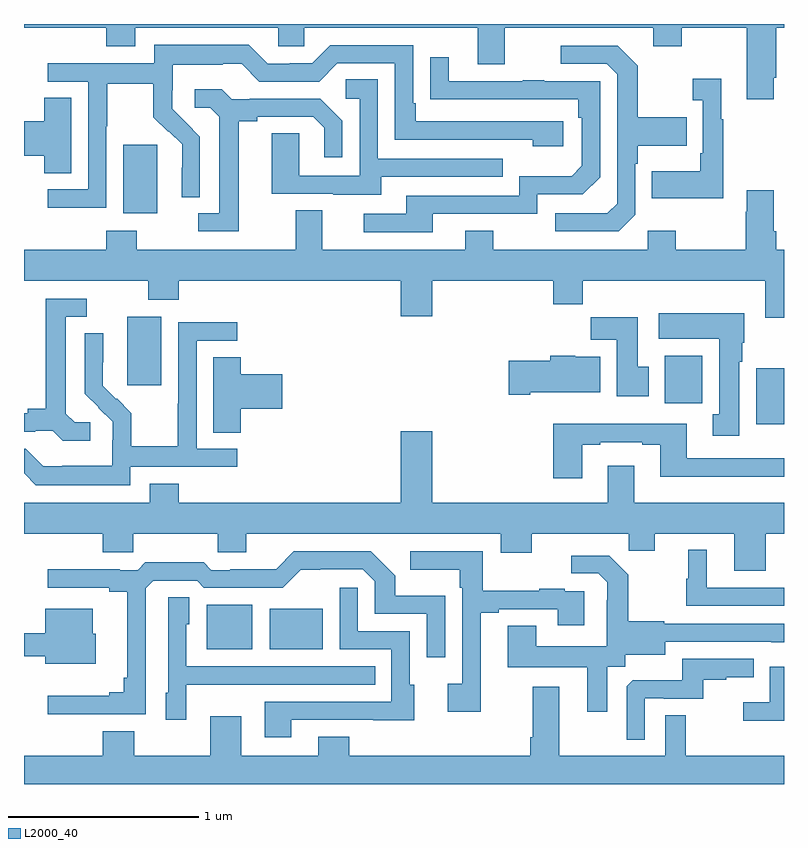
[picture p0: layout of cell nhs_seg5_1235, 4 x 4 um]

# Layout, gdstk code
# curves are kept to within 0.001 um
import gdstk
lib = gdstk.Library(unit=1e-6, precision=1e-09)
def R(c, l, rs):  # rectangles x0, y0, x1, y1
    for r in rs: c.add(gdstk.rectangle(r[:2], r[2:], *l))
def P(c, l, *ps):  # polygons
    for p in ps: c.add(gdstk.Polygon(p, *l))
L2000_40 = (2000, 40)

nhs_seg5_1235 = lib.new_cell('nhs_seg5_1235')
R(nhs_seg5_1235, L2000_40, [(187.961,833.507,188.2,833.743), (188.294,833.507,188.572,833.722), (190.853,834.692,191,834.988), (190.373,834.804,190.569,835.054), (187.544,834.897,187.723,835.258), (187.523,835.802,187.702,836.163)])
P(nhs_seg5_1235, L2000_40, [(190.945,836.515),(190.958,836.515),(190.958,836.78),(191,836.78),(191,836.799),(187,836.799),(187,836.78),(187.433,836.78),(187.433,836.681),(187.585,836.681),(187.585,836.78),(188.337,836.78),(188.337,836.682),(188.475,836.682),(188.475,836.78),(189.389,836.78),(189.389,836.586),(189.529,836.586),(189.529,836.78),(190.313,836.78),(190.313,836.681),(190.461,836.681),(190.461,836.78),(190.805,836.78),(190.805,836.403),(190.945,836.403)],
  [(187.434,836.26),(187.437,836.26),(187.437,836.484),(187.681,836.484),(187.681,836.309),(187.758,836.232),(187.761,836.235),(187.832,836.165),(187.832,836.042),(187.83,836.042),(187.83,835.888),(187.926,835.888),(187.926,836.206),(187.78,836.354),(187.78,836.451),(187.782,836.451),(187.782,836.585),(188.045,836.585),(188.045,836.589),(188.145,836.589),(188.238,836.496),(188.553,836.496),(188.649,836.592),(188.952,836.592),(188.952,836.19),(189.677,836.19),(189.677,836.156),(189.838,836.156),(189.838,836.286),(189.061,836.286),(189.061,836.383),(189.048,836.383),(189.048,836.688),(188.613,836.688),(188.517,836.592),(188.399,836.592),(188.399,836.589),(188.283,836.589),(188.183,836.689),(187.686,836.689),(187.686,836.592),(187.125,836.592),(187.125,836.496),(187.338,836.496),(187.338,835.929),(187.125,835.929),(187.125,835.831),(187.434,835.831)],
  [(190.218,835.794),(190.218,836.063),(190.231,836.063),(190.231,836.159),(190.487,836.159),(190.487,836.307),(190.231,836.307),(190.231,836.579),(190.125,836.685),(189.825,836.685),(189.825,836.589),(190.068,836.589),(190.122,836.535),(190.122,835.854),(190.071,835.803),(189.795,835.803),(189.795,835.707),(190.131,835.707)],
  [(189.151,835.8),(189.702,835.8),(189.702,835.902),(189.942,835.902),(190.032,835.992),(190.032,836.499),(189.737,836.499),(189.737,836.504),(189.625,836.504),(189.625,836.499),(189.235,836.499),(189.235,836.623),(189.139,836.623),(189.139,836.404),(189.916,836.403),(189.916,836.306),(189.936,836.306),(189.936,836.052),(189.883,835.999),(189.606,835.999),(189.606,835.896),(189.011,835.896),(189.011,835.8),(188.787,835.8),(188.787,835.704),(189.151,835.704)],
  [(190.681,836.299),(190.669,836.299),(190.669,836.512),(190.521,836.512),(190.521,836.399),(190.572,836.399),(190.572,836.119),(190.56,836.119),(190.56,836.023),(190.303,836.023),(190.303,835.883),(190.681,835.883)],
  [(188.881,835.995),(189.521,835.995),(189.521,836.091),(188.862,836.091),(188.862,836.507),(188.694,836.507),(188.694,836.406),(188.766,836.406),(188.766,836.001),(188.448,836.001),(188.448,836.225),(188.303,836.225),(188.303,835.905),(188.627,835.905),(188.627,835.901),(188.881,835.901)],
  [(188.131,836.288),(188.227,836.288),(188.227,836.31),(188.522,836.31),(188.579,836.253),(188.579,836.097),(188.676,836.097),(188.676,836.29),(188.56,836.406),(188.188,836.406),(188.188,836.403),(188.094,836.403),(188.042,836.455),(187.899,836.455),(187.899,836.358),(187.98,836.358),(188.027,836.311),(188.027,835.803),(187.917,835.803),(187.917,835.707),(188.131,835.707)],
  [(187.249,836.411),(187.106,836.411),(187.106,836.288),(187,836.288),(187,836.105),(187.106,836.105),(187.106,836.014),(187.249,836.014)],
  [(191,835.612),(190.958,835.612),(190.958,835.708),(190.945,835.708),(190.945,835.924),(190.805,835.924),(190.805,835.811),(190.798,835.811),(190.798,835.612),(190.431,835.612),(190.431,835.711),(190.284,835.711),(190.284,835.612),(189.471,835.612),(189.471,835.711),(189.323,835.711),(189.323,835.612),(188.569,835.612),(188.569,835.82),(188.429,835.82),(188.429,835.612),(187.593,835.612),(187.593,835.711),(187.433,835.711),(187.433,835.612),(187,835.612),(187,835.448),(187.654,835.448),(187.654,835.349),(187.814,835.349),(187.814,835.448),(188.984,835.448),(188.984,835.26),(189.148,835.26),(189.148,835.448),(189.785,835.448),(189.785,835.324),(189.941,835.324),(189.941,835.448),(190.901,835.448),(190.901,835.254),(191,835.254)],
  [(187.348,834.702),(187.266,834.702),(187.219,834.749),(187.219,835.257),(187.33,835.257),(187.33,835.353),(187.115,835.353),(187.115,834.773),(187.019,834.773),(187.019,834.75),(187,834.75),(187,834.654),(187.058,834.654),(187.058,834.657),(187.152,834.657),(187.204,834.605),(187.348,834.605)],
  [(190.765,835.022),(190.78,835.022),(190.78,835.122),(190.792,835.122),(190.792,835.276),(190.341,835.276),(190.341,835.142),(190.658,835.142),(190.658,834.745),(190.625,834.745),(190.625,834.633),(190.765,834.633)],
  [(190.288,834.996),(190.231,834.996),(190.231,835.255),(189.982,835.255),(189.982,835.136),(190.121,835.136),(190.121,834.84),(190.288,834.84)],
  [(187.56,834.468),(188.122,834.468),(188.122,834.564),(187.908,834.564),(187.908,835.131),(188.122,835.131),(188.122,835.23),(187.812,835.23),(187.812,834.8),(187.81,834.8),(187.81,834.577),(187.565,834.577),(187.565,834.751),(187.488,834.828),(187.485,834.825),(187.415,834.896),(187.416,835.172),(187.32,835.172),(187.32,834.854),(187.466,834.706),(187.466,834.609),(187.464,834.609),(187.464,834.475),(187.201,834.475),(187.201,834.471),(187.101,834.471),(187.008,834.564),(187,834.564),(187,834.434),(187.063,834.371),(187.56,834.371)],
  [(189.664,834.86),(190.033,834.86),(190.033,835.048),(189.9,835.048),(189.9,835.054),(189.77,835.054),(189.77,835.026),(189.552,835.026),(189.552,834.848),(189.664,834.848)],
  [(188.141,834.773),(188.359,834.773),(188.359,834.956),(188.141,834.956),(188.141,835.046),(187.997,835.046),(187.997,834.649),(188.141,834.649)],
  [(189.937,834.585),(190.033,834.585),(190.033,834.597),(190.253,834.597),(190.253,834.585),(190.349,834.585),(190.349,834.416),(191,834.416),(191,834.513),(190.489,834.513),(190.489,834.694),(189.785,834.694),(189.785,834.408),(189.937,834.408)],
  [(190.903,834.116),(191,834.116),(191,834.28),(190.213,834.28),(190.213,834.475),(190.073,834.475),(190.073,834.28),(189.148,834.28),(189.148,834.655),(188.984,834.655),(188.984,834.28),(187.814,834.28),(187.814,834.379),(187.661,834.379),(187.661,834.28),(187,834.28),(187,834.116),(187.415,834.116),(187.415,834.018),(187.575,834.018),(187.575,834.116),(188.02,834.116),(188.02,834.018),(188.17,834.018),(188.17,834.116),(189.509,834.116),(189.509,834.017),(189.673,834.017),(189.673,834.116),(190.183,834.116),(190.183,834.026),(190.321,834.026),(190.321,834.116),(190.739,834.116),(190.739,833.922),(190.903,833.922)],
  [(191,833.832),(190.594,833.832),(190.594,834.031),(190.496,834.031),(190.496,833.88),(190.485,833.88),(190.485,833.736),(191,833.736)],
  [(189.403,833.7),(189.499,833.7),(189.499,833.718),(189.809,833.718),(189.809,833.634),(189.949,833.634),(189.949,833.814),(189.845,833.814),(189.845,833.827),(189.713,833.827),(189.713,833.816),(189.415,833.816),(189.415,834.024),(189.033,834.024),(189.033,833.927),(189.294,833.927),(189.294,833.831),(189.306,833.831),(189.306,833.326),(189.231,833.326),(189.231,833.178),(189.403,833.178)],
  [(187.641,833.829),(187.68,833.868),(187.911,833.868),(187.947,833.832),(188.361,833.832),(188.456,833.927),(188.784,833.928),(188.847,833.865),(188.847,833.694),(189.12,833.694),(189.12,833.466),(189.216,833.466),(189.216,833.791),(188.955,833.791),(188.955,833.894),(188.824,834.024),(188.421,834.024),(188.327,833.93),(188.086,833.93),(188.086,833.925),(187.986,833.925),(187.947,833.965),(187.639,833.965),(187.599,833.925),(187.505,833.925),(187.505,833.93),(187.125,833.93),(187.125,833.832),(187.448,833.832),(187.448,833.81),(187.544,833.81),(187.544,833.359),(187.525,833.359),(187.525,833.282),(187.448,833.282),(187.448,833.263),(187.125,833.263),(187.125,833.166),(187.641,833.166)],
  [(190.069,833.416),(190.164,833.416),(190.164,833.48),(190.375,833.48),(190.375,833.547),(191,833.546),(191,833.643),(190.371,833.643),(190.371,833.656),(190.179,833.656),(190.179,833.901),(190.079,834.001),(189.879,834.001),(189.879,833.907),(190.023,833.907),(190.07,833.86),(190.07,833.765),(190.068,833.765),(190.068,833.524),(189.697,833.524),(189.697,833.633),(189.545,833.633),(189.545,833.414),(189.965,833.414),(189.965,833.178),(190.069,833.178)],
  [(188.407,833.136),(188.837,833.136),(188.837,833.135),(189.055,833.135),(189.055,833.322),(189.03,833.322),(189.03,833.604),(188.757,833.604),(188.757,833.833),(188.661,833.833),(188.661,833.508),(188.934,833.508),(188.934,833.232),(188.267,833.232),(188.267,833.046),(188.407,833.046)],
  [(187.854,833.321),(188.171,833.321),(188.171,833.322),(188.849,833.322),(188.849,833.418),(187.854,833.418),(187.854,833.64),(187.87,833.64),(187.87,833.783),(187.758,833.783),(187.758,833.28),(187.745,833.28),(187.745,833.136),(187.854,833.136)],
  [(187.378,833.589),(187.363,833.589),(187.363,833.722),(187.112,833.722),(187.112,833.593),(187,833.593),(187,833.471),(187.112,833.471),(187.112,833.432),(187.378,833.432)],
  [(190.266,833.25),(190.366,833.25),(190.366,833.247),(190.574,833.247),(190.574,833.349),(190.697,833.349),(190.697,833.36),(190.841,833.36),(190.841,833.457),(190.464,833.457),(190.464,833.345),(190.205,833.345),(190.173,833.313),(190.173,833.033),(190.266,833.033)],
  [(191,833.415),(190.926,833.415),(190.926,833.23),(190.785,833.23),(190.785,833.132),(191,833.132)],
  [(191,832.948),(190.483,832.948),(190.483,833.162),(190.374,833.162),(190.374,832.948),(189.817,832.948),(189.817,833.311),(189.677,833.311),(189.677,833.044),(189.665,833.044),(189.665,832.948),(188.713,832.948),(188.713,833.047),(188.549,833.047),(188.549,832.948),(188.143,832.948),(188.143,833.155),(187.979,833.155),(187.979,832.948),(187.579,832.948),(187.579,833.077),(187.415,833.077),(187.415,832.948),(187,832.948),(187,832.799),(191,832.799)])

lib.write_gds('nhs_seg5_1235.gds')
